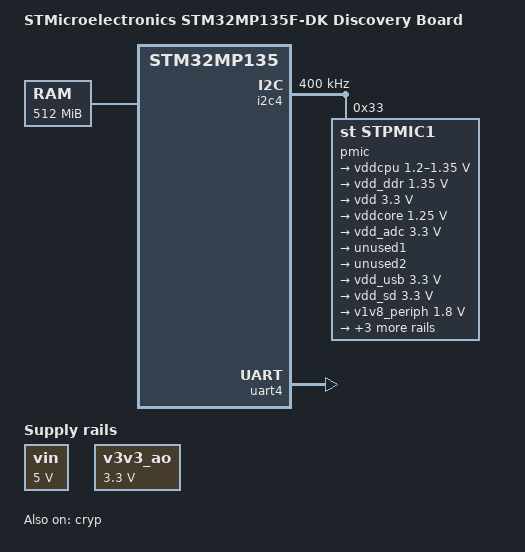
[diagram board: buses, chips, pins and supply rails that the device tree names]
// SPDX-License-Identifier: (GPL-2.0+ OR BSD-3-Clause)
/*
 * Copyright (C) STMicroelectronics 2021 - All Rights Reserved
 * Author: Alexandre Torgue <alexandre.torgue@foss.st.com> for STMicroelectronics.
 */

/dts-v1/;

#include "stm32mp135.dtsi"
#include "stm32mp13xf.dtsi"
#include "stm32mp13-pinctrl.dtsi"

/ {
	model = "STMicroelectronics STM32MP135F-DK Discovery Board";
	compatible = "st,stm32mp135f-dk", "st,stm32mp135";

	aliases {
		serial0 = &uart4;
		serial1 = &usart1;
	};

	chosen {
		stdout-path = "serial0:115200n8";
	};

	memory@c0000000 {
		device_type = "memory";
		reg = <0xc0000000 0x20000000>;
	};

	vin: vin {
		compatible = "regulator-fixed";
		regulator-name = "vin";
		regulator-min-microvolt = <5000000>;
		regulator-max-microvolt = <5000000>;
		regulator-always-on;
	};

	v3v3_ao: v3v3_ao {
		compatible = "regulator-fixed";
		regulator-name = "v3v3_ao";
		regulator-min-microvolt = <3300000>;
		regulator-max-microvolt = <3300000>;
		regulator-always-on;
	};
};

&cryp {
	status = "okay";
};

&i2c4 {
	pinctrl-names = "default";
	pinctrl-0 = <&i2c4_pins_a>;
	i2c-scl-rising-time-ns = <185>;
	i2c-scl-falling-time-ns = <20>;
	clock-frequency = <400000>;
	status = "okay";

	pmic: stpmic@33 {
		compatible = "st,stpmic1";
		reg = <0x33>;
		status = "okay";

		regulators {
			compatible = "st,stpmic1-regulators";
			buck1-supply = <&vin>;
			buck2-supply = <&vin>;
			buck3-supply = <&vin>;
			buck4-supply = <&vin>;
			ldo1-supply = <&vin>;
			ldo4-supply = <&vin>;
			ldo5-supply = <&vin>;
			ldo6-supply = <&vin>;
			vref_ddr-supply = <&vin>;
			pwr_sw1-supply = <&bst_out>;
			pwr_sw2-supply = <&v3v3_ao>;

			vddcpu: buck1 {
				regulator-name = "vddcpu";
				regulator-min-microvolt = <1200000>;
				regulator-max-microvolt = <1350000>;
				regulator-always-on;
				regulator-over-current-protection;

				lp-stop {
					regulator-suspend-microvolt = <1200000>;
				};
				lplv-stop {
					regulator-suspend-microvolt = <900000>;
				};
				lplv-stop2 {
					regulator-off-in-suspend;
				};
				standby-ddr-sr {
					regulator-off-in-suspend;
				};
				standby-ddr-off {
					regulator-off-in-suspend;
				};
			};

			vdd_ddr: buck2 {
				regulator-name = "vdd_ddr";
				regulator-min-microvolt = <1350000>;
				regulator-max-microvolt = <1350000>;
				regulator-always-on;
				regulator-over-current-protection;

				standby-ddr-off {
					regulator-off-in-suspend;
				};
			};

			vdd: buck3 {
				regulator-name = "vdd";
				regulator-min-microvolt = <3300000>;
				regulator-max-microvolt = <3300000>;
				regulator-always-on;
				st,mask-reset;
				regulator-over-current-protection;
			};

			vddcore: buck4 {
				regulator-name = "vddcore";
				regulator-min-microvolt = <1250000>;
				regulator-max-microvolt = <1250000>;
				regulator-always-on;
				regulator-over-current-protection;

				lplv-stop {
					regulator-suspend-microvolt = <900000>;
				};
				lplv-stop2 {
					regulator-suspend-microvolt = <900000>;
				};
				standby-ddr-sr {
					regulator-off-in-suspend;
				};
				standby-ddr-off {
					regulator-off-in-suspend;
				};
			};

			vdd_adc: ldo1 {
				regulator-name = "vdd_adc";
				regulator-min-microvolt = <3300000>;
				regulator-max-microvolt = <3300000>;

				standby-ddr-sr {
					regulator-off-in-suspend;
				};
				standby-ddr-off {
					regulator-off-in-suspend;
				};
			};

			unused1: ldo2 {
				regulator-name = "ldo2";
			};

			unused2: ldo3 {
				regulator-name = "ldo3";
			};

			vdd_usb: ldo4 {
				regulator-name = "vdd_usb";
				regulator-min-microvolt = <3300000>;
				regulator-max-microvolt = <3300000>;

				standby-ddr-sr {
					regulator-off-in-suspend;
				};
				standby-ddr-off {
					regulator-off-in-suspend;
				};
			};

			vdd_sd: ldo5 {
				regulator-name = "vdd_sd";
				regulator-min-microvolt = <3300000>;
				regulator-max-microvolt = <3300000>;
				regulator-boot-on;

				standby-ddr-sr {
					regulator-off-in-suspend;
				};
				standby-ddr-off {
					regulator-off-in-suspend;
				};
			};

			v1v8_periph: ldo6 {
				regulator-name = "v1v8_periph";
				regulator-min-microvolt = <1800000>;
				regulator-max-microvolt = <1800000>;

				standby-ddr-sr {
					regulator-off-in-suspend;
				};
				standby-ddr-off {
					regulator-off-in-suspend;
				};
			};

			vref_ddr: vref_ddr {
				regulator-name = "vref_ddr";
				regulator-always-on;

				standby-ddr-sr {
					regulator-off-in-suspend;
				};
				standby-ddr-off {
					regulator-off-in-suspend;
				};
			};

			bst_out: boost {
				regulator-name = "bst_out";
			};

			v3v3_sw: pwr_sw2 {
				regulator-name = "v3v3_sw";
				regulator-active-discharge = <1>;
			};
		};
	};
};

&uart4 {
	pinctrl-names = "default";
	pinctrl-0 = <&uart4_pins_a>;
	status = "okay";
};

&usart1 {
	pinctrl-names = "default";
	pinctrl-0 = <&usart1_pins_a>;
	uart-has-rtscts;
	status = "disabled";
};

&uart8 {
	pinctrl-names = "default";
	pinctrl-0 = <&uart8_pins_a>;
	status = "disabled";
};
